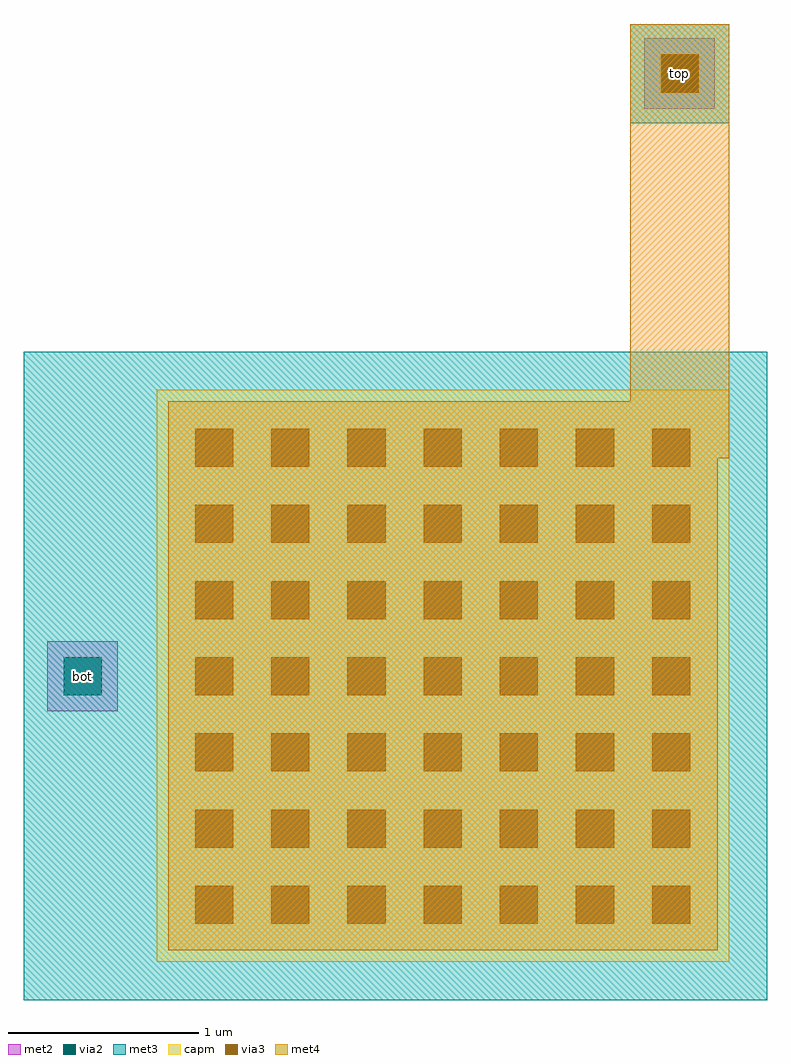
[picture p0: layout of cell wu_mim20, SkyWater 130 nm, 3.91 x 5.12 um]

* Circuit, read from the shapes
.subckt wu_mim20 bot top
XC1 top bot sky130_fd_pr__cap_mim_m3_1 w=3.005 l=3.005
.ends

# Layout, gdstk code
import gdstk
lib = gdstk.Library(unit=1e-6, precision=1e-09)
def R(c, l, rs):  # rectangles x0, y0, x1, y1
    for r in rs: c.add(gdstk.rectangle(r[:2], r[2:], *l))
def A(c, l, x, y, w, h, nx, ny, dx, dy):  # array of equal rectangles
    R(c, l, [(x+i*dx, y+j*dy, x+i*dx+w, y+j*dy+h) for i in range(nx) for j in range(ny)])
met2 = (69, 20)
via2 = (69, 44)
met3 = (70, 20)
via3 = (70, 44)
met4 = (71, 20)
capm = (89, 44)

wu_mim20 = lib.new_cell('wu_mim20')
R(wu_mim20, met2, [(-0.375,1.515,-0.005,1.885), (2.76,4.68,3.13,5.05)])
R(wu_mim20, via2, [(-0.29,1.6,-0.09,1.8), (2.845,4.765,3.045,4.965)])
R(wu_mim20, met3, [(-0.5,0,3.405,3.405), (2.685,4.605,3.205,5.125)])
A(wu_mim20, via3, 0.4, 0.4, 0.2, 0.2, 7, 7, 0.4, 0.4)
R(wu_mim20, via3, [(2.845,4.765,3.045,4.965)])
R(wu_mim20, met4, [(0.26,0.26,3.145,3.145), (2.685,2.845,3.205,5.125)])
R(wu_mim20, capm, [(0.2,0.2,3.205,3.205)])
wu_mim20.add(gdstk.Label('top', (2.945,4.865), layer=69, texttype=5))
wu_mim20.add(gdstk.Label('bot', (-0.19,1.7), layer=69, texttype=5))

lib.write_gds('wu_mim20.gds')
